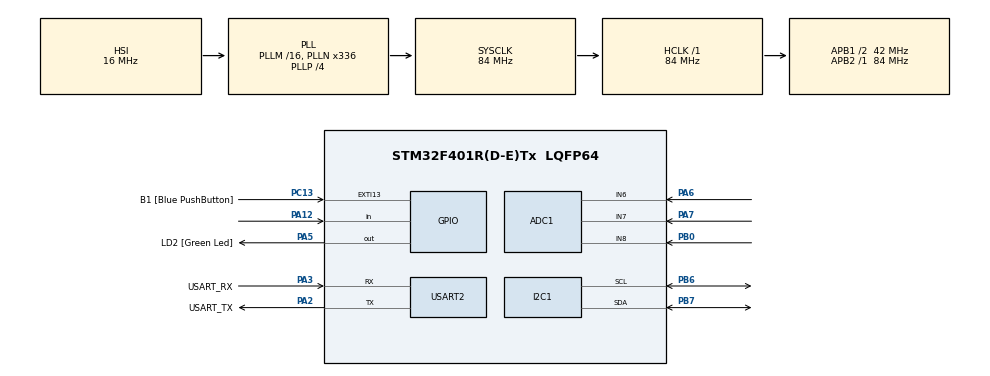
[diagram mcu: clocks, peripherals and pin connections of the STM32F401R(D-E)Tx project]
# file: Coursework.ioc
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ADC1.Channel-0\#ChannelRegularConversion=ADC_CHANNEL_6
ADC1.Channel-1\#ChannelRegularConversion=ADC_CHANNEL_7
ADC1.Channel-2\#ChannelRegularConversion=ADC_CHANNEL_8
ADC1.ContinuousConvMode=ENABLE
ADC1.DMAContinuousRequests=ENABLE
ADC1.NbrOfConversion=3
ADC1.NbrOfConversionFlag=1
ADC1.Rank-0\#ChannelRegularConversion=1
ADC1.Rank-1\#ChannelRegularConversion=2
ADC1.Rank-2\#ChannelRegularConversion=3
ADC1.SamplingTime-0\#ChannelRegularConversion=ADC_SAMPLETIME_480CYCLES
ADC1.SamplingTime-1\#ChannelRegularConversion=ADC_SAMPLETIME_480CYCLES
ADC1.SamplingTime-2\#ChannelRegularConversion=ADC_SAMPLETIME_3CYCLES
ADC1.ScanConvMode=ENABLE
ADC1.master=1
Dma.ADC1.0.Direction=DMA_PERIPH_TO_MEMORY
Dma.ADC1.0.FIFOMode=DMA_FIFOMODE_DISABLE
Dma.ADC1.0.Instance=DMA2_Stream0
Dma.ADC1.0.MemDataAlignment=DMA_MDATAALIGN_HALFWORD
Dma.ADC1.0.MemInc=DMA_MINC_ENABLE
Dma.ADC1.0.Mode=DMA_CIRCULAR
Dma.ADC1.0.PeriphDataAlignment=DMA_PDATAALIGN_HALFWORD
Dma.ADC1.0.PeriphInc=DMA_PINC_DISABLE
Dma.ADC1.0.Priority=DMA_PRIORITY_LOW
Dma.Request0=ADC1
Mcu.Family=STM32F4
Mcu.Name=STM32F401R(D-E)Tx
Mcu.Package=LQFP64
NVIC.ADC_IRQn=true\:1\:0\:true\:false\:true\:true\:true\:true
NVIC.DMA2_Stream0_IRQn=true\:0\:0\:false\:false\:true\:false\:true\:true
NVIC.EXTI15_10_IRQn=true\:0\:0\:false\:false\:true\:true\:true\:true
NVIC.PriorityGroup=NVIC_PRIORITYGROUP_4
NVIC.TIM2_IRQn=true\:0\:0\:false\:false\:true\:true\:true\:true
NVIC.TIM3_IRQn=true\:0\:0\:false\:false\:true\:true\:true\:true
PA12.GPIO_PuPd=GPIO_PULLUP
PA12.Signal=GPIO_Input
PA13.GPIO_Label=TMS
PA13.Mode=Serial_Wire
PA13.Signal=SYS_JTMS-SWDIO
PA14.GPIO_Label=TCK
PA14.Mode=Serial_Wire
PA14.Signal=SYS_JTCK-SWCLK
PA2.GPIO_Label=USART_TX
PA2.GPIO_Mode=GPIO_MODE_AF_PP
PA2.GPIO_PuPd=GPIO_NOPULL
PA2.GPIO_Speed=GPIO_SPEED_FREQ_LOW
PA2.Mode=Asynchronous
PA2.Signal=USART2_TX
PA3.GPIO_Label=USART_RX
PA3.GPIO_Mode=GPIO_MODE_AF_PP
PA3.GPIO_PuPd=GPIO_NOPULL
PA3.GPIO_Speed=GPIO_SPEED_FREQ_LOW
PA3.Mode=Asynchronous
PA3.Signal=USART2_RX
PA5.GPIO_Label=LD2 [Green Led]
PA5.GPIO_Mode=GPIO_MODE_OUTPUT_PP
PA5.GPIO_PuPd=GPIO_NOPULL
PA5.GPIO_Speed=GPIO_SPEED_FREQ_LOW
PA5.Signal=GPIO_Output
PA6.Signal=ADCx_IN6
PA7.Signal=ADCx_IN7
PB0.Signal=ADCx_IN8
PB3.GPIO_Label=SWO
PB3.Signal=SYS_JTDO-SWO
PB6.Mode=I2C
PB6.Signal=I2C1_SCL
PB7.Mode=I2C
PB7.Signal=I2C1_SDA
PC13-ANTI_TAMP.GPIO_Label=B1 [Blue PushButton]
PC13-ANTI_TAMP.GPIO_ModeDefaultEXTI=GPIO_MODE_IT_FALLING
PC13-ANTI_TAMP.GPIO_PuPd=GPIO_NOPULL
PC13-ANTI_TAMP.Signal=GPXTI13
PC14-OSC32_IN.Mode=LSE-External-Oscillator
PC14-OSC32_IN.Signal=RCC_OSC32_IN
PC15-OSC32_OUT.Mode=LSE-External-Oscillator
PC15-OSC32_OUT.Signal=RCC_OSC32_OUT
PH0\ -\ OSC_IN.Mode=HSE-External-Clock-Source
PH0\ -\ OSC_IN.Signal=RCC_OSC_IN
PH1\ -\ OSC_OUT.Mode=HSE-External-Clock-Source
PH1\ -\ OSC_OUT.Signal=RCC_OSC_OUT
ProjectManager.HeapSize=0x200
ProjectManager.StackSize=0x400
ProjectManager.TargetToolchain=STM32CubeIDE
RCC.48MHZClocksFreq_Value=48000000
RCC.AHBFreq_Value=84000000
RCC.APB1CLKDivider=RCC_HCLK_DIV2
RCC.APB1Freq_Value=42000000
RCC.APB1TimFreq_Value=84000000
RCC.APB2Freq_Value=84000000
RCC.APB2TimFreq_Value=84000000
RCC.CortexFreq_Value=84000000
RCC.HCLKFreq_Value=84000000
RCC.HSE_VALUE=8000000
RCC.HSI_VALUE=16000000
RCC.PLLN=336
RCC.PLLP=RCC_PLLP_DIV4
RCC.PLLQ=7
RCC.SYSCLKFreq_VALUE=84000000
RCC.SYSCLKSource=RCC_SYSCLKSOURCE_PLLCLK
RCC.VCOOutputFreq_Value=336000000
SH.ADCx_IN6.0=ADC1_IN6,IN6
SH.ADCx_IN7.0=ADC1_IN7,IN7
SH.ADCx_IN8.0=ADC1_IN8,IN8
TIM2.Period=838
TIM2.Prescaler=1000
TIM3.Period=1846
TIM3.Prescaler=10000
USART2.VirtualMode=VM_ASYNC
VP_TIM2_VS_ClockSourceINT.Mode=Internal
VP_TIM3_VS_ClockSourceINT.Mode=Internal
board=NUCLEO-F401RE

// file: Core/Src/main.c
/* USER CODE BEGIN Header */
/**
  ******************************************************************************
  * @file           : main.c
  * @brief          : Main program body
  ******************************************************************************
  * @attention
  *
  * Copyright (c) 2024 STMicroelectronics.
  * All rights reserved.
  *
  * This software is licensed under terms that can be found in the LICENSE file
  * in the root directory of this software component.
  * If no LICENSE file comes with this software, it is provided AS-IS.
  *
  ******************************************************************************
  */
/* USER CODE END Header */
#include "main.h"

/* USER CODE BEGIN Includes */
#include "screen.h"
#include <math.h>
#include <stdio.h>
#include <string.h>
/* USER CODE END Includes */

/* USER CODE BEGIN PD */
#define PADDLE_PWM_INIT 0x14
#define JOYSTICK_LEFT_THR 1748
#define JOYSTICK_RIGHT_THR 2348
#define JOYSTICK_UP_THR 500
#define JOYSTICK_DOWN_THR 3596
/* USER CODE END PD */

ADC_HandleTypeDef hadc1;
DMA_HandleTypeDef hdma_adc1;

I2C_HandleTypeDef hi2c1;

TIM_HandleTypeDef htim2;
TIM_HandleTypeDef htim3;

UART_HandleTypeDef huart2;

void SystemClock_Config(void);
static void MX_GPIO_Init(void);
static void MX_DMA_Init(void);
static void MX_USART2_UART_Init(void);
static void MX_TIM3_Init(void);
static void MX_ADC1_Init(void);
static void MX_I2C1_Init(void);
static void MX_TIM2_Init(void);
/* USER CODE BEGIN PFP */
void initialise_game(void);
void render_frame(void);
void game_main(void);
void update_paddle(void);
void update_ball(void);
void user_input_joystick(void);
void user_input_pushbutton(void);
void calculate_blocks(void);
void path_change_joystick(void);
void auto_play(void);

int8_t random_initial_speed(void);
int8_t random_initial_pos(void);
/* USER CODE END PFP */

/* USER CODE BEGIN 0 */
uint8_t NULL_PWM = INIT_PWM;
uint8_t BOUNDARY_PWM =  INIT_PWM;
uint8_t BLOCK_PWM = INIT_PWM;
uint8_t PADDLE_PWM = 0x02;
uint8_t PADDLE_PWM_HIT = 0x5A;
uint8_t PADDLE_PWM_FAIL = 0x02;
uint8_t BALL_PWM = 0x80;

int8_t main_CLK_autoreload = 21;
uint8_t main_CLK_counter = 0;
uint8_t long_press_CLK_autoreload = 30;
uint8_t long_press_CLK_counter = 0;

uint8_t MSG[50] = {'\0'};  // Message
uint16_t VRX;
uint16_t VRY;
uint16_t RNG;
uint16_t rawValues[3] = {2048, 2048};
uint8_t sendBuffer[2];
uint8_t frameBuffer[11] = {0x00};
uint8_t blinkBuffer[11] = {0x00};
uint8_t PWMBuffer[11][8] = {{INIT_PWM}};
uint8_t testBuffer[11] = {0xFF, 0xFF, 0xFF, 0xFF, 0xFF, 0xFF, 0xFF, 0xFF, 0xFF, 0xFF, 0xFF};

uint8_t pointProperties[13][9] = {0}; // 0: NULL, 1: Boundary, 2: Block, 3: Paddle, 4: Ball, 5: Bottom Line (1, 1) Top Left
uint8_t paddle_loc[2];
uint8_t ball_loc[2];
uint8_t ball_blink_enable = 0;
uint8_t pause_game = 1;
uint8_t auto_play_enable = 0;
uint8_t current_press_state = 1;
uint8_t prev_press_state = 1;
uint8_t prev_press_state_1 = 1;
uint8_t prev_press_state_2 = 1;
uint8_t disable_single_click = 0;
uint8_t score = 0;
int8_t bonus = 0;
int8_t blocks_left = 28;

int8_t Vx;
int8_t Vy;

int8_t fail_flag = 0;
uint8_t breath_request = 0;

uint8_t convCompleted = 0;
void HAL_ADC_ConvCpltCallback(ADC_HandleTypeDef *hadc)
{
	for (uint8_t i=0; i<hadc1.Init.NbrOfConversion; i++){
		VRX = (uint16_t) rawValues[0];
		VRY = (uint16_t) rawValues[1];
		RNG = (uint16_t) rawValues[2];
	}
}

/* USER CODE END 0 */

int main(void)
{

  /* MCU Configuration--------------------------------------------------------*/

  /* Reset of all peripherals, Initializes the Flash interface and the Systick. */
  HAL_Init();

  /* Configure the system clock */
  SystemClock_Config();

  /* Initialize all configured peripherals */
  MX_GPIO_Init();
  MX_DMA_Init();
  MX_USART2_UART_Init();
  MX_TIM3_Init();
  MX_ADC1_Init();
  MX_I2C1_Init();
  MX_TIM2_Init();
  /* USER CODE BEGIN 2 */
  HAL_TIM_Base_Start_IT(&htim2);
  HAL_TIM_Base_Start_IT(&htim3);
  HAL_ADC_Start_DMA(&hadc1, (uint32_t *) rawValues, 3);

  ISSI_init(&hi2c1);

  initialise_game();
  render_frame();
  ISSI_send_buffer(&hi2c1, frameBuffer);
  ISSI_send_buffer_PWM(&hi2c1, PWMBuffer);
  ISSI_send_buffer_BLINK(&hi2c1, blinkBuffer);

  /* USER CODE END 2 */

  /* Infinite loop */
  /* USER CODE BEGIN WHILE */
  while (1)
  {
	  render_frame();
	  ISSI_send_buffer(&hi2c1, frameBuffer);
	  ISSI_send_buffer_PWM(&hi2c1, PWMBuffer);
	  ISSI_send_buffer_BLINK(&hi2c1, blinkBuffer);

	  if (breath_request == 1){
		  ISSI_set_frame(&hi2c1, 0x01);
		  ISSI_set_frame(&hi2c1, 0x00);
		  breath_request = 0;
	  }

	  HAL_Delay(5);
    /* USER CODE END WHILE */

  }
}

void SystemClock_Config(void)
{
  RCC_OscInitTypeDef RCC_OscInitStruct = {0};
  RCC_ClkInitTypeDef RCC_ClkInitStruct = {0};

  /** Configure the main internal regulator output voltage
  */
  __HAL_RCC_PWR_CLK_ENABLE();
  __HAL_PWR_VOLTAGESCALING_CONFIG(PWR_REGULATOR_VOLTAGE_SCALE2);

  /** Initializes the RCC Oscillators according to the specified parameters
  * in the RCC_OscInitTypeDef structure.
  */
  RCC_OscInitStruct.OscillatorType = RCC_OSCILLATORTYPE_HSI;
  RCC_OscInitStruct.HSIState = RCC_HSI_ON;
  RCC_OscInitStruct.HSICalibrationValue = RCC_HSICALIBRATION_DEFAULT;
  RCC_OscInitStruct.PLL.PLLState = RCC_PLL_ON;
  RCC_OscInitStruct.PLL.PLLSource = RCC_PLLSOURCE_HSI;
  RCC_OscInitStruct.PLL.PLLM = 16;
  RCC_OscInitStruct.PLL.PLLN = 336;
  RCC_OscInitStruct.PLL.PLLP = RCC_PLLP_DIV4;
  RCC_OscInitStruct.PLL.PLLQ = 7;
  if (HAL_RCC_OscConfig(&RCC_OscInitStruct) != HAL_OK)
  {
    Error_Handler();
  }

  /** Initializes the CPU, AHB and APB buses clocks
  */
  RCC_ClkInitStruct.ClockType = RCC_CLOCKTYPE_HCLK|RCC_CLOCKTYPE_SYSCLK
                              |RCC_CLOCKTYPE_PCLK1|RCC_CLOCKTYPE_PCLK2;
  RCC_ClkInitStruct.SYSCLKSource = RCC_SYSCLKSOURCE_PLLCLK;
  RCC_ClkInitStruct.AHBCLKDivider = RCC_SYSCLK_DIV1;
  RCC_ClkInitStruct.APB1CLKDivider = RCC_HCLK_DIV2;
  RCC_ClkInitStruct.APB2CLKDivider = RCC_HCLK_DIV1;

  if (HAL_RCC_ClockConfig(&RCC_ClkInitStruct, FLASH_LATENCY_2) != HAL_OK)
  {
    Error_Handler();
  }
}

static void MX_ADC1_Init(void)
{

  ADC_ChannelConfTypeDef sConfig = {0};

  /** Configure the global features of the ADC (Clock, Resolution, Data Alignment and number of conversion)
  */
  hadc1.Instance = ADC1;
  hadc1.Init.ClockPrescaler = ADC_CLOCK_SYNC_PCLK_DIV4;
  hadc1.Init.Resolution = ADC_RESOLUTION_12B;
  hadc1.Init.ScanConvMode = ENABLE;
  hadc1.Init.ContinuousConvMode = ENABLE;
  hadc1.Init.DiscontinuousConvMode = DISABLE;
  hadc1.Init.ExternalTrigConvEdge = ADC_EXTERNALTRIGCONVEDGE_NONE;
  hadc1.Init.ExternalTrigConv = ADC_SOFTWARE_START;
  hadc1.Init.DataAlign = ADC_DATAALIGN_RIGHT;
  hadc1.Init.NbrOfConversion = 3;
  hadc1.Init.DMAContinuousRequests = ENABLE;
  hadc1.Init.EOCSelection = ADC_EOC_SINGLE_CONV;
  if (HAL_ADC_Init(&hadc1) != HAL_OK)
  {
    Error_Handler();
  }

  /** Configure for the selected ADC regular channel its corresponding rank in the sequencer and its sample time.
  */
  sConfig.Channel = ADC_CHANNEL_6;
  sConfig.Rank = 1;
  sConfig.SamplingTime = ADC_SAMPLETIME_480CYCLES;
  if (HAL_ADC_ConfigChannel(&hadc1, &sConfig) != HAL_OK)
  {
    Error_Handler();
  }

  /** Configure for the selected ADC regular channel its corresponding rank in the sequencer and its sample time.
  */
  sConfig.Channel = ADC_CHANNEL_7;
  sConfig.Rank = 2;
  if (HAL_ADC_ConfigChannel(&hadc1, &sConfig) != HAL_OK)
  {
    Error_Handler();
  }

  /** Configure for the selected ADC regular channel its corresponding rank in the sequencer and its sample time.
  */
  sConfig.Channel = ADC_CHANNEL_8;
  sConfig.Rank = 3;
  sConfig.SamplingTime = ADC_SAMPLETIME_3CYCLES;
  if (HAL_ADC_ConfigChannel(&hadc1, &sConfig) != HAL_OK)
  {
    Error_Handler();
  }

}

static void MX_I2C1_Init(void)
{

  hi2c1.Instance = I2C1;
  hi2c1.Init.ClockSpeed = 100000;
  hi2c1.Init.DutyCycle = I2C_DUTYCYCLE_2;
  hi2c1.Init.OwnAddress1 = 0;
  hi2c1.Init.AddressingMode = I2C_ADDRESSINGMODE_7BIT;
  hi2c1.Init.DualAddressMode = I2C_DUALADDRESS_DISABLE;
  hi2c1.Init.OwnAddress2 = 0;
  hi2c1.Init.GeneralCallMode = I2C_GENERALCALL_DISABLE;
  hi2c1.Init.NoStretchMode = I2C_NOSTRETCH_DISABLE;
  if (HAL_I2C_Init(&hi2c1) != HAL_OK)
  {
    Error_Handler();
  }

}

static void MX_TIM2_Init(void)
{

  TIM_ClockConfigTypeDef sClockSourceConfig = {0};
  TIM_MasterConfigTypeDef sMasterConfig = {0};

  htim2.Instance = TIM2;
  htim2.Init.Prescaler = 1000;
  htim2.Init.CounterMode = TIM_COUNTERMODE_UP;
  htim2.Init.Period = 838;
  htim2.Init.ClockDivision = TIM_CLOCKDIVISION_DIV1;
  htim2.Init.AutoReloadPreload = TIM_AUTORELOAD_PRELOAD_DISABLE;
  if (HAL_TIM_Base_Init(&htim2) != HAL_OK)
  {
    Error_Handler();
  }
  sClockSourceConfig.ClockSource = TIM_CLOCKSOURCE_INTERNAL;
  if (HAL_TIM_ConfigClockSource(&htim2, &sClockSourceConfig) != HAL_OK)
  {
    Error_Handler();
  }
  sMasterConfig.MasterOutputTrigger = TIM_TRGO_RESET;
  sMasterConfig.MasterSlaveMode = TIM_MASTERSLAVEMODE_DISABLE;
  if (HAL_TIMEx_MasterConfigSynchronization(&htim2, &sMasterConfig) != HAL_OK)
  {
    Error_Handler();
  }

}

static void MX_TIM3_Init(void)
{

  TIM_ClockConfigTypeDef sClockSourceConfig = {0};
  TIM_MasterConfigTypeDef sMasterConfig = {0};

  htim3.Instance = TIM3;
  htim3.Init.Prescaler = 10000;
  htim3.Init.CounterMode = TIM_COUNTERMODE_UP;
  htim3.Init.Period = 1846;
  htim3.Init.ClockDivision = TIM_CLOCKDIVISION_DIV1;
  htim3.Init.AutoReloadPreload = TIM_AUTORELOAD_PRELOAD_DISABLE;
  if (HAL_TIM_Base_Init(&htim3) != HAL_OK)
  {
    Error_Handler();
  }
  sClockSourceConfig.ClockSource = TIM_CLOCKSOURCE_INTERNAL;
  if (HAL_TIM_ConfigClockSource(&htim3, &sClockSourceConfig) != HAL_OK)
  {
    Error_Handler();
  }
  sMasterConfig.MasterOutputTrigger = TIM_TRGO_RESET;
  sMasterConfig.MasterSlaveMode = TIM_MASTERSLAVEMODE_DISABLE;
  if (HAL_TIMEx_MasterConfigSynchronization(&htim3, &sMasterConfig) != HAL_OK)
  {
    Error_Handler();
  }

}

static void MX_USART2_UART_Init(void)
{

  huart2.Instance = USART2;
  huart2.Init.BaudRate = 115200;
  huart2.Init.WordLength = UART_WORDLENGTH_8B;
  huart2.Init.StopBits = UART_STOPBITS_1;
  huart2.Init.Parity = UART_PARITY_NONE;
  huart2.Init.Mode = UART_MODE_TX_RX;
  huart2.Init.HwFlowCtl = UART_HWCONTROL_NONE;
  huart2.Init.OverSampling = UART_OVERSAMPLING_16;
  if (HAL_UART_Init(&huart2) != HAL_OK)
  {
    Error_Handler();
  }

}

static void MX_DMA_Init(void)
{

  /* DMA controller clock enable */
  __HAL_RCC_DMA2_CLK_ENABLE();

  /* DMA interrupt init */
  /* DMA2_Stream0_IRQn interrupt configuration */
  HAL_NVIC_SetPriority(DMA2_Stream0_IRQn, 0, 0);
  HAL_NVIC_EnableIRQ(DMA2_Stream0_IRQn);

}

static void MX_GPIO_Init(void)
{
  GPIO_InitTypeDef GPIO_InitStruct = {0};

  /* GPIO Ports Clock Enable */
  __HAL_RCC_GPIOC_CLK_ENABLE();
  __HAL_RCC_GPIOH_CLK_ENABLE();
  __HAL_RCC_GPIOA_CLK_ENABLE();
  __HAL_RCC_GPIOB_CLK_ENABLE();

  /*Configure GPIO pin Output Level */
  HAL_GPIO_WritePin(LD2_GPIO_Port, LD2_Pin, GPIO_PIN_RESET);

  /*Configure GPIO pin : B1_Pin */
  GPIO_InitStruct.Pin = B1_Pin;
  GPIO_InitStruct.Mode = GPIO_MODE_IT_FALLING;
  GPIO_InitStruct.Pull = GPIO_NOPULL;
  HAL_GPIO_Init(B1_GPIO_Port, &GPIO_InitStruct);

  /*Configure GPIO pin : LD2_Pin */
  GPIO_InitStruct.Pin = LD2_Pin;
  GPIO_InitStruct.Mode = GPIO_MODE_OUTPUT_PP;
  GPIO_InitStruct.Pull = GPIO_NOPULL;
  GPIO_InitStruct.Speed = GPIO_SPEED_FREQ_LOW;
  HAL_GPIO_Init(LD2_GPIO_Port, &GPIO_InitStruct);

  /*Configure GPIO pin : PA12 */
  GPIO_InitStruct.Pin = GPIO_PIN_12;
  GPIO_InitStruct.Mode = GPIO_MODE_INPUT;
  GPIO_InitStruct.Pull = GPIO_PULLUP;
  HAL_GPIO_Init(GPIOA, &GPIO_InitStruct);

  /* EXTI interrupt init*/
  HAL_NVIC_SetPriority(EXTI15_10_IRQn, 0, 0);
  HAL_NVIC_EnableIRQ(EXTI15_10_IRQn);

}

/* USER CODE BEGIN 4 */
void HAL_TIM_PeriodElapsedCallback(TIM_HandleTypeDef* htim)
{
	if (htim->Instance == TIM2) // Push Button Sample CLK and main CLK, T=10ms
	{
		if (main_CLK_autoreload <= 0){
			main_CLK_autoreload = 0;
		}
		if (main_CLK_counter > main_CLK_autoreload){
			game_main();
			HAL_GPIO_TogglePin(GPIOA, GPIO_PIN_5);
			main_CLK_counter = 0;
		}
		if (long_press_CLK_counter > long_press_CLK_autoreload){
			if ((prev_press_state_2 == 1) && (prev_press_state_1 == 0) && (prev_press_state == 0)){
				auto_play_enable = !auto_play_enable;
				breath_request = 1;
				disable_single_click = 1;
			}
			prev_press_state_2 = prev_press_state_1;
			prev_press_state_1 = current_press_state;
			long_press_CLK_counter = 0;
		}

		long_press_CLK_counter++;
		main_CLK_counter++;
		user_input_pushbutton();
	}

	else if (htim->Instance == TIM3) // User Input CLK, T=0.333s
	{
		user_input_joystick();
	}
}

void HAL_GPIO_EXTI_Callback(uint16_t GPIO_Pin)
{
    if(GPIO_Pin == GPIO_PIN_13)  // On board push button, only for external interrupt testing purposes
    {
    	memset(MSG, '\0', sizeof(MSG));
    	sprintf(MSG, "Test\r\n");
    	HAL_UART_Transmit(&huart2, MSG, sizeof(MSG), 100);
    	pause_game = !pause_game;
    }
}

void initialise_game(void) {
	// 0: NULL, 1: Boundary, 2: Block, 3: Paddle, 4: Ball, 5: Bottom Line, (1, 1) Top Left
	bonus = 1;
	blocks_left = 21;
	for (uint8_t i = 0; i <= 11; i++){
		for (uint8_t j = 0; j <= 8; j++){
			pointProperties[i][j] = 0;
		}
	}
	// Initialise Boundaries
	Vx = random_initial_speed(); Vy = random_initial_speed();
	ball_blink_enable = 0;
	for (uint8_t i = 0; i <= 11; i++) {
		pointProperties[i][0] = 1;
		pointProperties[i][8] = 1;
	}
	for (uint8_t i = 1; i <= 7; i++) {
		pointProperties[0][i] = 1;
	}

	// Initialise Bottom Line
	for (uint8_t i = 0; i <= 8; i++) {
		pointProperties[12][i] = 5;
	}

	// Place Paddle
	paddle_loc[0] = 11; paddle_loc[1] = 4;
	update_paddle();

	// Place Ball
	ball_loc[0] = 7 + random_initial_pos(); ball_loc[1] = 4 + random_initial_pos();
	pointProperties[ball_loc[0]][ball_loc[1]] = 4;

	// Place Blocks
	for (uint8_t i = 1; i <= 7; i++) {
		pointProperties[1][i] = 2;
		pointProperties[2][i] = 2;
		pointProperties[3][i] = 2;
	}
}

void render_frame(void) {
	// 0: NULL, 1: Boundary, 2: Block, 3: Paddle, 4: Ball, 5: Bottom Line, (1, 1) Top Left
	uint8_t write_intermediate = 0x00;
	uint8_t blink_intermediate = 0x00;

	for (uint8_t row = 1; row <= 11; row++) {
		write_intermediate = 0x00;
		blink_intermediate = 0x00;
		for (uint8_t col = 1; col <= 7; col++) {
			switch (pointProperties[row][col]) {
			case 2:
				write_intermediate = write_intermediate + pow(2, col - 1);
				PWMBuffer[row - 1][col - 1] = BLOCK_PWM;
				break;
			case 3:
				write_intermediate = write_intermediate + pow(2, col - 1);
				PWMBuffer[row - 1][col - 1] = PADDLE_PWM;
				break;
			case 4:
				write_intermediate = write_intermediate + pow(2, col - 1);
				PWMBuffer[row - 1][col - 1] = BALL_PWM;
				if (ball_blink_enable){
					blink_intermediate = blink_intermediate + pow(2, col - 1);
				}
				break;
			default:
				PWMBuffer[row - 1][col - 1] = INIT_PWM;
			}
		}
		frameBuffer[row - 1] = write_intermediate;
		blinkBuffer[row - 1] = blink_intermediate;
	}
}

void game_main(void){
	if (pause_game != 1){
		auto_play();
		update_ball();
		calculate_blocks();
	}
}

void update_paddle(void){
	if(pointProperties[paddle_loc[0]][paddle_loc[1] + 2] == 3){
		pointProperties[paddle_loc[0]][paddle_loc[1] + 2] = 0;
	}
	else if (pointProperties[paddle_loc[0]][paddle_loc[1] - 2] == 3){
		pointProperties[paddle_loc[0]][paddle_loc[1] - 2] = 0;
	}
	pointProperties[paddle_loc[0]][paddle_loc[1]] = 3;
	pointProperties[paddle_loc[0]][paddle_loc[1] - 1] = 3;
	pointProperties[paddle_loc[0]][paddle_loc[1] + 1] = 3;
}

void update_ball(void){
	uint8_t flag = 0;
	PADDLE_PWM = PADDLE_PWM_INIT;
	if(pointProperties[ball_loc[0]][ball_loc[1] + Vx] != 0){
		if (pointProperties[ball_loc[0]][ball_loc[1] + Vx] == 2){
			pointProperties[ball_loc[0]][ball_loc[1] + Vx] = 0;  // Clear block
		}
		else if(pointProperties[ball_loc[0]][ball_loc[1] + Vx] == 3){
			PADDLE_PWM = PADDLE_PWM_HIT;
			flag = 1;
		}
		Vx = -Vx;
	}

	if (flag == 1){
		path_change_joystick();
	}

	flag = 0;
	if(pointProperties[ball_loc[0] + Vy][ball_loc[1]] != 0){
		if (pointProperties[ball_loc[0] + Vy][ball_loc[1]] == 2){
			pointProperties[ball_loc[0] + Vy][ball_loc[1]] = 0;  // Clear Block
			Vy = -Vy;
		}
		else if (pointProperties[ball_loc[0] + Vy][ball_loc[1]] == 3) {
			PADDLE_PWM = PADDLE_PWM_HIT;
			Vy = -Vy;
			flag = 1;
		}
		else if (pointProperties[ball_loc[0] + Vy][ball_loc[1]] == 1) {
			Vy = -Vy;
		}
		else if (pointProperties[ball_loc[0] + Vy][ball_loc[1]] == 5) {
			pause_game = 1;
			Vy = 0; Vx = 0;
			ball_blink_enable = 1;
			PADDLE_PWM = PADDLE_PWM_FAIL;
			fail_flag = 1;
			memset(MSG, '\0', sizeof(MSG));
			sprintf(MSG, "You LOOSE ! Score: %d\r\nPress Button to RESTART\r\n\r\n", score);
			HAL_UART_Transmit(&huart2, MSG, sizeof(MSG), 100);
		}

	}
	else if (pointProperties[ball_loc[0] + Vy][ball_loc[1] + Vx] != 0){
		if (pointProperties[ball_loc[0] + Vy][ball_loc[1] + Vx] == 2){
			pointProperties[ball_loc[0] + Vy][ball_loc[1] + Vx] = 0;  // Clear Block
		}
		else if (pointProperties[ball_loc[0] + Vy][ball_loc[1] + Vx] == 3){
			PADDLE_PWM = PADDLE_PWM_HIT;
			flag = 1;
		}
		Vx = -Vx;
		Vy = -Vy;
	}

	if (flag == 1){
		path_change_joystick();
	}

	// Path not available
	if (pointProperties[ball_loc[0] + Vy][ball_loc[1] + Vx] != 0){
		return;
	}
	pointProperties[ball_loc[0]][ball_loc[1]] = 0;
	ball_loc[0] = ball_loc[0] + Vy;
	ball_loc[1] = ball_loc[1] + Vx;
	pointProperties[ball_loc[0]][ball_loc[1]] = 4;
}

void user_input_joystick(void){
	if (VRX <= JOYSTICK_LEFT_THR){
		if ((paddle_loc[1] > 2) && (pause_game != 1) && (auto_play_enable != 1)){
			paddle_loc[1]--;
			update_paddle();
		}
	}
	else if ((VRX >= JOYSTICK_RIGHT_THR) && (pause_game != 1) && (auto_play_enable != 1)){
		if (paddle_loc[1] < 6){
			paddle_loc[1]++;
			update_paddle();
		}
	}

	if (VRY <= JOYSTICK_UP_THR){
		main_CLK_autoreload--;
		if (main_CLK_autoreload > 0){
			bonus++;
			memset(MSG, '\0', sizeof(MSG));
			sprintf(MSG, "CLK Speed Increased, bonus = %d\r\n\r\n", bonus);
			HAL_UART_Transmit(&huart2, MSG, sizeof(MSG), 100);
		}
		else{
			memset(MSG, '\0', sizeof(MSG));
			sprintf(MSG, "MAX CLK Speed !!!\r\n\r\n");
			HAL_UART_Transmit(&huart2, MSG, sizeof(MSG), 100);
		}

	}
	else if (VRY >= JOYSTICK_DOWN_THR){
		main_CLK_autoreload++;
		bonus--;
		memset(MSG, '\0', sizeof(MSG));
		sprintf(MSG, "CLK Speed Decreased, bonus = %d\r\n\r\n", bonus);
		HAL_UART_Transmit(&huart2, MSG, sizeof(MSG), 100);
	}
}

void user_input_pushbutton(void){
	current_press_state = HAL_GPIO_ReadPin(GPIOA, GPIO_PIN_12);
	if ((prev_press_state == 0) && (current_press_state == 1)){
		if (disable_single_click == 1){
			disable_single_click = 0;
		}
		else{
			if (fail_flag == 1){
				initialise_game();
				pause_game = 1;
				score = 0;
				fail_flag = 0;
				main_CLK_autoreload = 20;
			}
			else if (fail_flag == -1){
				initialise_game();
				pause_game = 1;
				fail_flag = 0;
				main_CLK_autoreload = main_CLK_autoreload - 2;
				memset(MSG, '\0', sizeof(MSG));
				sprintf(MSG, "CLK Speed Increased\r\n\r\n");
				HAL_UART_Transmit(&huart2, MSG, sizeof(MSG), 100);
			}
			else{
				pause_game = !pause_game;
			}
			PADDLE_PWM = PADDLE_PWM_FAIL;
			breath_request = 1;
		}
	}

	prev_press_state = current_press_state;
}

int8_t random_initial_speed(void){
	uint8_t randomRaw = RNG % 2;
	if (randomRaw == 1){
		return 1;
	}
	else{
		return -1;
	}
}

int8_t random_initial_pos(void){
	uint8_t randomRaw = RNG % 3;
	if (randomRaw == 0){
		return 1;
	}
	else if(randomRaw == 1){
		return -1;
	}
	else{
		return 0;
	}
}

void calculate_blocks(void){
	blocks_left = 0;
	for (uint8_t i = 1; i <= 3; i++){
		for (uint8_t j = 1; j <= 7; j++){
			if (pointProperties[i][j] == 2){
				blocks_left++;
			}
		}
	}
	// Win
	if (blocks_left == 0){
		pause_game = 1;
		Vx = 0; Vy = 0;
		fail_flag = -1;
		score = score + bonus;
		memset(MSG, '\0', sizeof(MSG));
		sprintf(MSG, "You WIN ! Score: %d\r\nPress Button to CONTINUE\r\n\r\n", score);
		HAL_UART_Transmit(&huart2, MSG, sizeof(MSG), 100);
	}
}

void path_change_joystick(void){
	if (VRX <= JOYSTICK_LEFT_THR) {
		Vx = -1;
	}
	else if (VRX >= JOYSTICK_RIGHT_THR){
		Vx = 1;
	}
}

void auto_play(void){
	if (auto_play_enable == 1){
		if(ball_loc[1] <= 2){
			paddle_loc[1] = 2;
			update_paddle();
		}
		else if(ball_loc[1] >= 6){
			paddle_loc[1] = 6;
			update_paddle();
		}
		else{
			paddle_loc[1] = ball_loc[1];
			update_paddle();
		}
	}
}

/* USER CODE END 4 */

void Error_Handler(void)
{
  __disable_irq();
  while (1)
  {
  }
}
